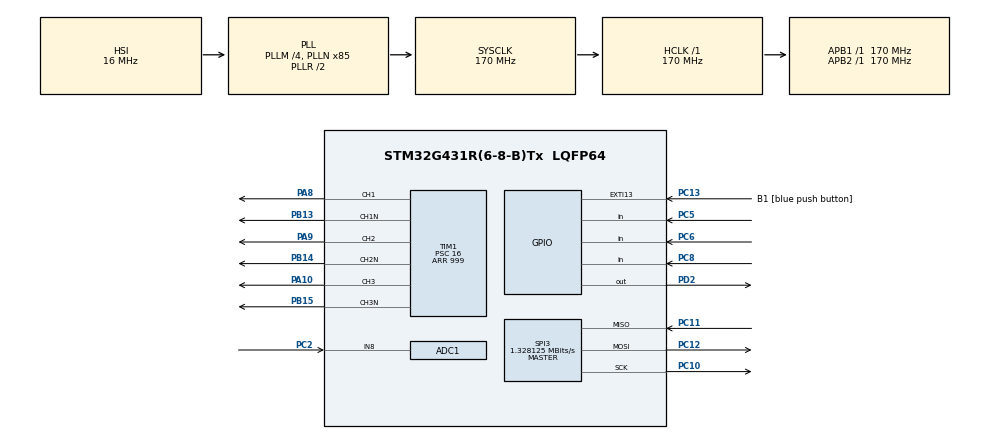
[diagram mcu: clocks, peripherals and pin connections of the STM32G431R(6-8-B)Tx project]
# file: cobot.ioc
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ADC1.Channel-0\#ChannelRegularConversion=ADC_CHANNEL_8
ADC1.NbrOfConversionFlag=1
ADC1.OffsetNumber-0\#ChannelRegularConversion=ADC_OFFSET_NONE
ADC1.Rank-0\#ChannelRegularConversion=1
ADC1.SamplingTime-0\#ChannelRegularConversion=ADC_SAMPLETIME_2CYCLES_5
ADC1.master=1
Mcu.Family=STM32G4
Mcu.Name=STM32G431R(6-8-B)Tx
Mcu.Package=LQFP64
NVIC.PriorityGroup=NVIC_PRIORITYGROUP_4
NVIC.TIM6_DAC_IRQn=true\:0\:0\:false\:false\:true\:true\:true\:true
PA10.Signal=S_TIM1_CH3
PA13.GPIO_Label=T_SWDIO
PA13.Mode=Serial_Wire
PA13.Signal=SYS_JTMS-SWDIO
PA14.GPIO_Label=T_SWCLK
PA14.Mode=Serial_Wire
PA14.Signal=SYS_JTCK-SWCLK
PA3.GPIO_Label=LPUART1_RX [STLINKV3E_VCP_TX]
PA3.Signal=LPUART1_RX
PA5.Signal=SPI1_SCK
PA6.Signal=SPI1_MISO
PA7.Signal=SPI1_MOSI
PA8.Signal=S_TIM1_CH1
PA9.Signal=S_TIM1_CH2
PB13.Mode=PWM Generation1 CH1 CH1N
PB13.Signal=TIM1_CH1N
PB14.Mode=PWM Generation2 CH2 CH2N
PB14.Signal=TIM1_CH2N
PB15.Mode=PWM Generation3 CH3 CH3N
PB15.Signal=TIM1_CH3N
PC10.Mode=Full_Duplex_Master
PC10.Signal=SPI3_SCK
PC11.Mode=Full_Duplex_Master
PC11.Signal=SPI3_MISO
PC12.Mode=Full_Duplex_Master
PC12.Signal=SPI3_MOSI
PC13.GPIO_Label=B1 [blue push button]
PC13.Signal=GPXTI13
PC14-OSC32_IN.Signal=RCC_OSC32_IN
PC15-OSC32_OUT.Signal=RCC_OSC32_OUT
PC2.Mode=IN8-Single-Ended
PC2.Signal=ADC1_IN8
PC5.Signal=GPIO_Input
PC6.Signal=GPIO_Input
PC8.Signal=GPIO_Input
PD2.Signal=GPIO_Output
PF0-OSC_IN.Mode=HSE-External-Oscillator
PF0-OSC_IN.Signal=RCC_OSC_IN
PF1-OSC_OUT.Mode=HSE-External-Oscillator
PF1-OSC_OUT.Signal=RCC_OSC_OUT
ProjectManager.HeapSize=0x200
ProjectManager.StackSize=0x400
ProjectManager.TargetToolchain=STM32CubeIDE
RCC.ADC12Freq_Value=170000000
RCC.AHBFreq_Value=170000000
RCC.APB1Freq_Value=170000000
RCC.APB1TimFreq_Value=170000000
RCC.APB2Freq_Value=170000000
RCC.APB2TimFreq_Value=170000000
RCC.CortexFreq_Value=170000000
RCC.EXTERNAL_CLOCK_VALUE=12288000
RCC.HCLKFreq_Value=170000000
RCC.HSE_VALUE=24000000
RCC.HSI48_VALUE=48000000
RCC.HSI_VALUE=16000000
RCC.LSE_VALUE=32768
RCC.PLLM=RCC_PLLM_DIV4
RCC.PLLN=85
RCC.RTCClockSelection=RCC_RTCCLKSOURCE_LSE
RCC.SYSCLKFreq_VALUE=170000000
RCC.SYSCLKSource=RCC_SYSCLKSOURCE_PLLCLK
RCC.USBFreq_Value=170000000
RCC.VCOOutputFreq_Value=340000000
SH.S_TIM1_CH1.0=TIM1_CH1,PWM Generation1 CH1 CH1N
SH.S_TIM1_CH2.0=TIM1_CH2,PWM Generation2 CH2 CH2N
SH.S_TIM1_CH3.0=TIM1_CH3,PWM Generation3 CH3 CH3N
SPI3.BaudRatePrescaler=SPI_BAUDRATEPRESCALER_128
SPI3.CLKPhase=SPI_PHASE_2EDGE
SPI3.CalculateBaudRate=1.328125 MBits/s
SPI3.DataSize=SPI_DATASIZE_8BIT
SPI3.Direction=SPI_DIRECTION_2LINES
SPI3.Mode=SPI_MODE_MASTER
SPI3.VirtualType=VM_MASTER
TIM1.AutoReloadPreload=TIM_AUTORELOAD_PRELOAD_DISABLE
TIM1.Channel-PWM\ Generation1\ CH1\ CH1N=TIM_CHANNEL_1
TIM1.Channel-PWM\ Generation2\ CH2\ CH2N=TIM_CHANNEL_2
TIM1.Channel-PWM\ Generation3\ CH3\ CH3N=TIM_CHANNEL_3
TIM1.ClockDivision=TIM_CLOCKDIVISION_DIV1
TIM1.CounterMode=TIM_COUNTERMODE_UP
TIM1.OCNIdleState_1=TIM_OCNIDLESTATE_SET
TIM1.OCNIdleState_2=TIM_OCNIDLESTATE_SET
TIM1.OCNIdleState_3=TIM_OCNIDLESTATE_SET
TIM1.PeriodNoDither=999
TIM1.Prescaler=16
TIM1.PulseNoDither_1=49
TIM1.PulseNoDither_2=49
TIM1.PulseNoDither_3=49
TIM15.AutoReloadPreload=TIM_AUTORELOAD_PRELOAD_ENABLE
TIM15.PeriodNoDither=999
TIM15.Prescaler=699
TIM6.Prescaler=26
VP_SYS_VS_DBSignals.Mode=DisableDeadBatterySignals
VP_TIM15_VS_ClockSourceINT.Mode=Internal
VP_TIM1_VS_ClockSourceINT.Mode=Internal
VP_TIM6_VS_ClockSourceINT.Mode=Enable_Timer
board=NUCLEO-G431RB

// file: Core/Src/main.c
/* USER CODE BEGIN Header */
/**
  ******************************************************************************
  * @file           : main.c
  * @brief          : Main program body
  ******************************************************************************
  * @attention
  *
  * Copyright (c) 2023 STMicroelectronics.
  * All rights reserved.
  *
  * This software is licensed under terms that can be found in the LICENSE file
  * in the root directory of this software component.
  * If no LICENSE file comes with this software, it is provided AS-IS.
  *
  ******************************************************************************
  */
/* USER CODE END Header */
#include "main.h"

/* USER CODE BEGIN Includes */
#include "encoder_init.h"
#include "encoder.h"
#include "dz_pid.h"
/* USER CODE END Includes */

/* USER CODE BEGIN PD */

#define MAX_PWM	999
#define MED_PWM	499
#define MIN_PWM	0

/*GPIOC u,v,w hall sensor pin*/
#define 	HALL_PIN_U	GPIO_PIN_5
#define 	HALL_PIN_V	GPIO_PIN_6
#define 	HALL_PIN_W	GPIO_PIN_8

/* USER CODE END PD */

ADC_HandleTypeDef hadc1;

SPI_HandleTypeDef hspi3;

TIM_HandleTypeDef htim1;
TIM_HandleTypeDef htim6;
TIM_HandleTypeDef htim15;

/* USER CODE BEGIN PV */
as5047p_init_t as5047;

int8_t positionx = 0;
int8_t prev_positionx = 0;

int32_t motorpos = 0;
int32_t deltaMotorPos = 0;
int32_t motorRpm=0;

struct pid pidMotor={
		.Kp = 1,
		.Ki = 0.1,
		.Kd = 0,
		.integral = 0,
		.prev_error = 0
};

int8_t u_state=0;
int8_t v_state;
int8_t w_state;

int16_t setpointRpm = 0;

int16_t MAX = 0;
int16_t MED = MED_PWM;
int16_t MIN = MIN_PWM;

typedef enum{
	pos1 = 5,
	pos2 = 4,
	pos3 = 3,
	pos4 = 2,
	pos5 = 1,
	pos6 = 0
}Poss;

uint16_t reading = 0x0000;

/* USER CODE END PV */

void SystemClock_Config(void);
static void MX_GPIO_Init(void);
static void MX_TIM1_Init(void);
static void MX_TIM15_Init(void);
static void MX_SPI3_Init(void);
static void MX_ADC1_Init(void);
static void MX_TIM6_Init(void);
/* USER CODE BEGIN PFP */

int8_t readHallPosition(){
	/*	0b0000 0uvw	*/

	Poss positionx = 0;
	 u_state = HAL_GPIO_ReadPin(GPIOC, HALL_PIN_U);
	 v_state = HAL_GPIO_ReadPin(GPIOC, HALL_PIN_V);
	 w_state = HAL_GPIO_ReadPin(GPIOC, HALL_PIN_W);

	if((u_state == 1) && (v_state == 0) && (w_state == 1)){
		positionx = pos1;
	}
	else if((u_state == 1) && (v_state == 0) && (w_state == 0)){
		positionx = pos2;
	}
	else if((u_state == 1) && (v_state == 1) && (w_state == 0)){
		positionx = pos3;
	}
	else if((u_state == 0) && (v_state == 1) && (w_state == 0)){
		positionx = pos4;
	}else if((u_state == 0) && (v_state == 1) && (w_state == 1)){
		positionx = pos5;
	}else if((u_state == 0) && (v_state == 0) && (w_state == 1)){
		positionx = pos6;
	}

	if(prev_positionx != positionx){
		motorpos += 1;
	}
	prev_positionx = positionx;

	return positionx;
}

void setMotorPosition(int8_t pos){

if(pos == pos1)
{
	  __HAL_TIM_SetCompare(&htim1, TIM_CHANNEL_1,MIN); //2-4
	  __HAL_TIM_SetCompare(&htim1, TIM_CHANNEL_2,MAX);
	  __HAL_TIM_SetCompare(&htim1, TIM_CHANNEL_3,MED);

}
else if(pos == pos2){//
	  __HAL_TIM_SetCompare(&htim1, TIM_CHANNEL_1,MIN); // 2-6
	  __HAL_TIM_SetCompare(&htim1, TIM_CHANNEL_2,MED);
	  __HAL_TIM_SetCompare(&htim1, TIM_CHANNEL_3,MAX);

}
else if(pos == pos3){

	  __HAL_TIM_SetCompare(&htim1, TIM_CHANNEL_1,MED); //1-6
	  __HAL_TIM_SetCompare(&htim1, TIM_CHANNEL_2,MIN);
	  __HAL_TIM_SetCompare(&htim1, TIM_CHANNEL_3,MAX);

}
else if(pos == pos4){
	  __HAL_TIM_SetCompare(&htim1, TIM_CHANNEL_1,MAX);//1-5
	  __HAL_TIM_SetCompare(&htim1, TIM_CHANNEL_2,MIN);
	  __HAL_TIM_SetCompare(&htim1, TIM_CHANNEL_3,MED);

}
else if(pos == pos5){

	  __HAL_TIM_SetCompare(&htim1, TIM_CHANNEL_1,MAX);//3-5
	  __HAL_TIM_SetCompare(&htim1, TIM_CHANNEL_2,MED);
	  __HAL_TIM_SetCompare(&htim1, TIM_CHANNEL_3,MIN);

}
else if(pos == pos6){// 3-4

	  __HAL_TIM_SetCompare(&htim1, TIM_CHANNEL_1,MED);
	  __HAL_TIM_SetCompare(&htim1, TIM_CHANNEL_2,MAX);
	  __HAL_TIM_SetCompare(&htim1, TIM_CHANNEL_3,MIN);

}
else{
	__HAL_TIM_SetCompare(&htim1, TIM_CHANNEL_1,MED);
	__HAL_TIM_SetCompare(&htim1, TIM_CHANNEL_2,MED);
	__HAL_TIM_SetCompare(&htim1, TIM_CHANNEL_3,MED);
	HAL_Delay(1);

}

}

uint16_t getSpeed(void)
{
  HAL_ADC_Start(&hadc1);
  HAL_ADC_PollForConversion(&hadc1, 100);
  uint32_t adc_val = HAL_ADC_GetValue(&hadc1);
  HAL_ADC_Stop(&hadc1);

  return adc_val * 0.244140625; // adc_val*(1000%4096)
}

void HAL_TIM_PeriodElapsedCallback(TIM_HandleTypeDef *htim) {

	if (htim->Instance == htim6.Instance) {

		setpointRpm =  getSpeed();

		motorRpm = (motorpos - deltaMotorPos) * 142; // 6000/42 1dk/tamtur
	    deltaMotorPos = motorpos;

	    MAX = pidCalculate(&pidMotor, setpointRpm, motorRpm);

	}

}

/* USER CODE END PFP */

int main(void)
{

  /* MCU Configuration--------------------------------------------------------*/

  /* Reset of all peripherals, Initializes the Flash interface and the Systick. */
  HAL_Init();

  /* Configure the system clock */
  SystemClock_Config();

  /* Initialize all configured peripherals */
  MX_GPIO_Init();
  MX_TIM1_Init();
  MX_TIM15_Init();
  MX_SPI3_Init();
  MX_ADC1_Init();
  MX_TIM6_Init();
  /* USER CODE BEGIN 2 */

  HAL_TIM_PWM_Start(&htim1, TIM_CHANNEL_1);
  HAL_TIMEx_PWMN_Start(&htim1, TIM_CHANNEL_1);

  HAL_TIM_PWM_Start(&htim1, TIM_CHANNEL_2);
  HAL_TIMEx_PWMN_Start(&htim1, TIM_CHANNEL_2);

  HAL_TIM_PWM_Start(&htim1, TIM_CHANNEL_3);
  HAL_TIMEx_PWMN_Start(&htim1, TIM_CHANNEL_3);
  HAL_GPIO_WritePin(GPIOD, GPIO_PIN_2, GPIO_PIN_SET);
  HAL_Delay(500);

  encoder_init(&as5047);
  as5047p_config(&as5047, 0x0025, 0x0007);
  as5047p_setZero(&as5047, 1052);
  as5047p_readData(&as5047, AS5047P_SETTINGS1);
  as5047p_readData(&as5047, AS5047P_SETTINGS2);

  HAL_TIM_Base_Start_IT(&htim6);
  /* USER CODE END 2 */

  /* Infinite loop */
  /* USER CODE BEGIN WHILE */
  while (1)
  {
	 positionx = readHallPosition();
	 setMotorPosition(positionx);

    /* USER CODE END WHILE */

  }
}

void SystemClock_Config(void)
{
  RCC_OscInitTypeDef RCC_OscInitStruct = {0};
  RCC_ClkInitTypeDef RCC_ClkInitStruct = {0};

  /** Configure the main internal regulator output voltage
  */
  HAL_PWREx_ControlVoltageScaling(PWR_REGULATOR_VOLTAGE_SCALE1_BOOST);

  /** Initializes the RCC Oscillators according to the specified parameters
  * in the RCC_OscInitTypeDef structure.
  */
  RCC_OscInitStruct.OscillatorType = RCC_OSCILLATORTYPE_HSI;
  RCC_OscInitStruct.HSIState = RCC_HSI_ON;
  RCC_OscInitStruct.HSICalibrationValue = RCC_HSICALIBRATION_DEFAULT;
  RCC_OscInitStruct.PLL.PLLState = RCC_PLL_ON;
  RCC_OscInitStruct.PLL.PLLSource = RCC_PLLSOURCE_HSI;
  RCC_OscInitStruct.PLL.PLLM = RCC_PLLM_DIV4;
  RCC_OscInitStruct.PLL.PLLN = 85;
  RCC_OscInitStruct.PLL.PLLP = RCC_PLLP_DIV2;
  RCC_OscInitStruct.PLL.PLLQ = RCC_PLLQ_DIV2;
  RCC_OscInitStruct.PLL.PLLR = RCC_PLLR_DIV2;
  if (HAL_RCC_OscConfig(&RCC_OscInitStruct) != HAL_OK)
  {
    Error_Handler();
  }

  /** Initializes the CPU, AHB and APB buses clocks
  */
  RCC_ClkInitStruct.ClockType = RCC_CLOCKTYPE_HCLK|RCC_CLOCKTYPE_SYSCLK
                              |RCC_CLOCKTYPE_PCLK1|RCC_CLOCKTYPE_PCLK2;
  RCC_ClkInitStruct.SYSCLKSource = RCC_SYSCLKSOURCE_PLLCLK;
  RCC_ClkInitStruct.AHBCLKDivider = RCC_SYSCLK_DIV1;
  RCC_ClkInitStruct.APB1CLKDivider = RCC_HCLK_DIV1;
  RCC_ClkInitStruct.APB2CLKDivider = RCC_HCLK_DIV1;

  if (HAL_RCC_ClockConfig(&RCC_ClkInitStruct, FLASH_LATENCY_4) != HAL_OK)
  {
    Error_Handler();
  }
}

static void MX_ADC1_Init(void)
{

  ADC_MultiModeTypeDef multimode = {0};
  ADC_ChannelConfTypeDef sConfig = {0};

  /** Common config
  */
  hadc1.Instance = ADC1;
  hadc1.Init.ClockPrescaler = ADC_CLOCK_SYNC_PCLK_DIV4;
  hadc1.Init.Resolution = ADC_RESOLUTION_12B;
  hadc1.Init.DataAlign = ADC_DATAALIGN_RIGHT;
  hadc1.Init.GainCompensation = 0;
  hadc1.Init.ScanConvMode = ADC_SCAN_DISABLE;
  hadc1.Init.EOCSelection = ADC_EOC_SINGLE_CONV;
  hadc1.Init.LowPowerAutoWait = DISABLE;
  hadc1.Init.ContinuousConvMode = DISABLE;
  hadc1.Init.NbrOfConversion = 1;
  hadc1.Init.DiscontinuousConvMode = DISABLE;
  hadc1.Init.ExternalTrigConv = ADC_SOFTWARE_START;
  hadc1.Init.ExternalTrigConvEdge = ADC_EXTERNALTRIGCONVEDGE_NONE;
  hadc1.Init.DMAContinuousRequests = DISABLE;
  hadc1.Init.Overrun = ADC_OVR_DATA_PRESERVED;
  hadc1.Init.OversamplingMode = DISABLE;
  if (HAL_ADC_Init(&hadc1) != HAL_OK)
  {
    Error_Handler();
  }

  /** Configure the ADC multi-mode
  */
  multimode.Mode = ADC_MODE_INDEPENDENT;
  if (HAL_ADCEx_MultiModeConfigChannel(&hadc1, &multimode) != HAL_OK)
  {
    Error_Handler();
  }

  /** Configure Regular Channel
  */
  sConfig.Channel = ADC_CHANNEL_8;
  sConfig.Rank = ADC_REGULAR_RANK_1;
  sConfig.SamplingTime = ADC_SAMPLETIME_2CYCLES_5;
  sConfig.SingleDiff = ADC_SINGLE_ENDED;
  sConfig.OffsetNumber = ADC_OFFSET_NONE;
  sConfig.Offset = 0;
  if (HAL_ADC_ConfigChannel(&hadc1, &sConfig) != HAL_OK)
  {
    Error_Handler();
  }

}

static void MX_SPI3_Init(void)
{

  /* SPI3 parameter configuration*/
  hspi3.Instance = SPI3;
  hspi3.Init.Mode = SPI_MODE_MASTER;
  hspi3.Init.Direction = SPI_DIRECTION_2LINES;
  hspi3.Init.DataSize = SPI_DATASIZE_8BIT;
  hspi3.Init.CLKPolarity = SPI_POLARITY_LOW;
  hspi3.Init.CLKPhase = SPI_PHASE_2EDGE;
  hspi3.Init.NSS = SPI_NSS_SOFT;
  hspi3.Init.BaudRatePrescaler = SPI_BAUDRATEPRESCALER_128;
  hspi3.Init.FirstBit = SPI_FIRSTBIT_MSB;
  hspi3.Init.TIMode = SPI_TIMODE_DISABLE;
  hspi3.Init.CRCCalculation = SPI_CRCCALCULATION_DISABLE;
  hspi3.Init.CRCPolynomial = 7;
  hspi3.Init.CRCLength = SPI_CRC_LENGTH_DATASIZE;
  hspi3.Init.NSSPMode = SPI_NSS_PULSE_DISABLE;
  if (HAL_SPI_Init(&hspi3) != HAL_OK)
  {
    Error_Handler();
  }

}

static void MX_TIM1_Init(void)
{

  TIM_ClockConfigTypeDef sClockSourceConfig = {0};
  TIM_MasterConfigTypeDef sMasterConfig = {0};
  TIM_OC_InitTypeDef sConfigOC = {0};
  TIM_BreakDeadTimeConfigTypeDef sBreakDeadTimeConfig = {0};

  htim1.Instance = TIM1;
  htim1.Init.Prescaler = 16;
  htim1.Init.CounterMode = TIM_COUNTERMODE_UP;
  htim1.Init.Period = 999;
  htim1.Init.ClockDivision = TIM_CLOCKDIVISION_DIV1;
  htim1.Init.RepetitionCounter = 0;
  htim1.Init.AutoReloadPreload = TIM_AUTORELOAD_PRELOAD_DISABLE;
  if (HAL_TIM_Base_Init(&htim1) != HAL_OK)
  {
    Error_Handler();
  }
  sClockSourceConfig.ClockSource = TIM_CLOCKSOURCE_INTERNAL;
  if (HAL_TIM_ConfigClockSource(&htim1, &sClockSourceConfig) != HAL_OK)
  {
    Error_Handler();
  }
  if (HAL_TIM_PWM_Init(&htim1) != HAL_OK)
  {
    Error_Handler();
  }
  sMasterConfig.MasterOutputTrigger = TIM_TRGO_RESET;
  sMasterConfig.MasterOutputTrigger2 = TIM_TRGO2_RESET;
  sMasterConfig.MasterSlaveMode = TIM_MASTERSLAVEMODE_DISABLE;
  if (HAL_TIMEx_MasterConfigSynchronization(&htim1, &sMasterConfig) != HAL_OK)
  {
    Error_Handler();
  }
  sConfigOC.OCMode = TIM_OCMODE_PWM1;
  sConfigOC.Pulse = 49;
  sConfigOC.OCPolarity = TIM_OCPOLARITY_HIGH;
  sConfigOC.OCNPolarity = TIM_OCNPOLARITY_HIGH;
  sConfigOC.OCFastMode = TIM_OCFAST_DISABLE;
  sConfigOC.OCIdleState = TIM_OCIDLESTATE_RESET;
  sConfigOC.OCNIdleState = TIM_OCNIDLESTATE_SET;
  if (HAL_TIM_PWM_ConfigChannel(&htim1, &sConfigOC, TIM_CHANNEL_1) != HAL_OK)
  {
    Error_Handler();
  }
  if (HAL_TIM_PWM_ConfigChannel(&htim1, &sConfigOC, TIM_CHANNEL_2) != HAL_OK)
  {
    Error_Handler();
  }
  if (HAL_TIM_PWM_ConfigChannel(&htim1, &sConfigOC, TIM_CHANNEL_3) != HAL_OK)
  {
    Error_Handler();
  }
  sBreakDeadTimeConfig.OffStateRunMode = TIM_OSSR_DISABLE;
  sBreakDeadTimeConfig.OffStateIDLEMode = TIM_OSSI_DISABLE;
  sBreakDeadTimeConfig.LockLevel = TIM_LOCKLEVEL_OFF;
  sBreakDeadTimeConfig.DeadTime = 0;
  sBreakDeadTimeConfig.BreakState = TIM_BREAK_DISABLE;
  sBreakDeadTimeConfig.BreakPolarity = TIM_BREAKPOLARITY_HIGH;
  sBreakDeadTimeConfig.BreakFilter = 0;
  sBreakDeadTimeConfig.BreakAFMode = TIM_BREAK_AFMODE_INPUT;
  sBreakDeadTimeConfig.Break2State = TIM_BREAK2_DISABLE;
  sBreakDeadTimeConfig.Break2Polarity = TIM_BREAK2POLARITY_HIGH;
  sBreakDeadTimeConfig.Break2Filter = 0;
  sBreakDeadTimeConfig.Break2AFMode = TIM_BREAK_AFMODE_INPUT;
  sBreakDeadTimeConfig.AutomaticOutput = TIM_AUTOMATICOUTPUT_DISABLE;
  if (HAL_TIMEx_ConfigBreakDeadTime(&htim1, &sBreakDeadTimeConfig) != HAL_OK)
  {
    Error_Handler();
  }
  HAL_TIM_MspPostInit(&htim1);

}

static void MX_TIM6_Init(void)
{

  TIM_MasterConfigTypeDef sMasterConfig = {0};

  htim6.Instance = TIM6;
  htim6.Init.Prescaler = 26;
  htim6.Init.CounterMode = TIM_COUNTERMODE_UP;
  htim6.Init.Period = 65535;
  htim6.Init.AutoReloadPreload = TIM_AUTORELOAD_PRELOAD_DISABLE;
  if (HAL_TIM_Base_Init(&htim6) != HAL_OK)
  {
    Error_Handler();
  }
  sMasterConfig.MasterOutputTrigger = TIM_TRGO_RESET;
  sMasterConfig.MasterSlaveMode = TIM_MASTERSLAVEMODE_DISABLE;
  if (HAL_TIMEx_MasterConfigSynchronization(&htim6, &sMasterConfig) != HAL_OK)
  {
    Error_Handler();
  }

}

static void MX_TIM15_Init(void)
{

  TIM_ClockConfigTypeDef sClockSourceConfig = {0};
  TIM_MasterConfigTypeDef sMasterConfig = {0};

  htim15.Instance = TIM15;
  htim15.Init.Prescaler = 699;
  htim15.Init.CounterMode = TIM_COUNTERMODE_UP;
  htim15.Init.Period = 999;
  htim15.Init.ClockDivision = TIM_CLOCKDIVISION_DIV1;
  htim15.Init.RepetitionCounter = 0;
  htim15.Init.AutoReloadPreload = TIM_AUTORELOAD_PRELOAD_ENABLE;
  if (HAL_TIM_Base_Init(&htim15) != HAL_OK)
  {
    Error_Handler();
  }
  sClockSourceConfig.ClockSource = TIM_CLOCKSOURCE_INTERNAL;
  if (HAL_TIM_ConfigClockSource(&htim15, &sClockSourceConfig) != HAL_OK)
  {
    Error_Handler();
  }
  sMasterConfig.MasterOutputTrigger = TIM_TRGO_RESET;
  sMasterConfig.MasterSlaveMode = TIM_MASTERSLAVEMODE_DISABLE;
  if (HAL_TIMEx_MasterConfigSynchronization(&htim15, &sMasterConfig) != HAL_OK)
  {
    Error_Handler();
  }

}

static void MX_GPIO_Init(void)
{
  GPIO_InitTypeDef GPIO_InitStruct = {0};

  /* GPIO Ports Clock Enable */
  __HAL_RCC_GPIOC_CLK_ENABLE();
  __HAL_RCC_GPIOF_CLK_ENABLE();
  __HAL_RCC_GPIOA_CLK_ENABLE();
  __HAL_RCC_GPIOB_CLK_ENABLE();
  __HAL_RCC_GPIOD_CLK_ENABLE();

  /*Configure GPIO pin Output Level */
  HAL_GPIO_WritePin(GPIOD, GPIO_PIN_2, GPIO_PIN_RESET);

  /*Configure GPIO pin : B1_Pin */
  GPIO_InitStruct.Pin = B1_Pin;
  GPIO_InitStruct.Mode = GPIO_MODE_IT_RISING;
  GPIO_InitStruct.Pull = GPIO_NOPULL;
  HAL_GPIO_Init(B1_GPIO_Port, &GPIO_InitStruct);

  /*Configure GPIO pin : LPUART1_RX_Pin */
  GPIO_InitStruct.Pin = LPUART1_RX_Pin;
  GPIO_InitStruct.Mode = GPIO_MODE_AF_PP;
  GPIO_InitStruct.Pull = GPIO_NOPULL;
  GPIO_InitStruct.Speed = GPIO_SPEED_FREQ_LOW;
  GPIO_InitStruct.Alternate = GPIO_AF12_LPUART1;
  HAL_GPIO_Init(LPUART1_RX_GPIO_Port, &GPIO_InitStruct);

  /*Configure GPIO pins : PA5 PA6 PA7 */
  GPIO_InitStruct.Pin = GPIO_PIN_5|GPIO_PIN_6|GPIO_PIN_7;
  GPIO_InitStruct.Mode = GPIO_MODE_AF_PP;
  GPIO_InitStruct.Pull = GPIO_NOPULL;
  GPIO_InitStruct.Speed = GPIO_SPEED_FREQ_LOW;
  GPIO_InitStruct.Alternate = GPIO_AF5_SPI1;
  HAL_GPIO_Init(GPIOA, &GPIO_InitStruct);

  /*Configure GPIO pins : PC5 PC6 PC8 */
  GPIO_InitStruct.Pin = GPIO_PIN_5|GPIO_PIN_6|GPIO_PIN_8;
  GPIO_InitStruct.Mode = GPIO_MODE_INPUT;
  GPIO_InitStruct.Pull = GPIO_NOPULL;
  HAL_GPIO_Init(GPIOC, &GPIO_InitStruct);

  /*Configure GPIO pin : PD2 */
  GPIO_InitStruct.Pin = GPIO_PIN_2;
  GPIO_InitStruct.Mode = GPIO_MODE_OUTPUT_PP;
  GPIO_InitStruct.Pull = GPIO_NOPULL;
  GPIO_InitStruct.Speed = GPIO_SPEED_FREQ_LOW;
  HAL_GPIO_Init(GPIOD, &GPIO_InitStruct);

}

void Error_Handler(void)
{
  __disable_irq();
  while (1)
  {
  }
}
